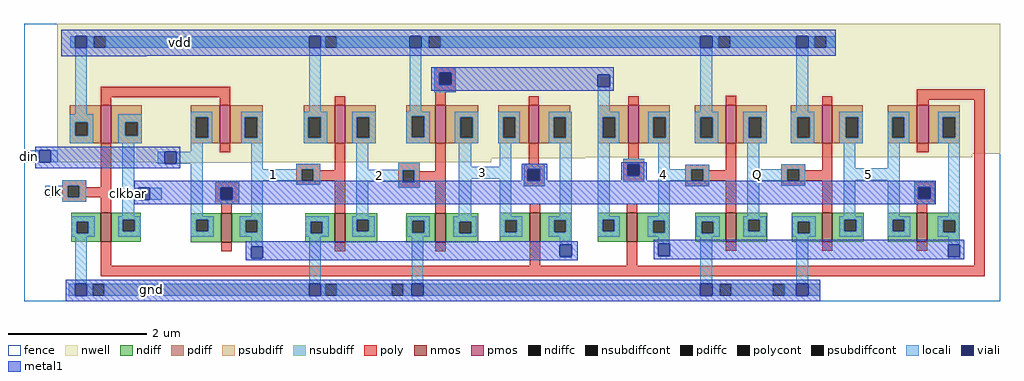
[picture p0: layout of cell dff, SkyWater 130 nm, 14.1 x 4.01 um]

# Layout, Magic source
magic
tech sky130A
<< fence >>
rect -809 -175 601 226
<< nwell >>
rect -761 38 601 226
rect -761 33 561 38
rect -761 32 2 33
rect -761 31 -133 32
rect -761 26 -134 31
rect -624 25 -481 26
<< nmos >>
rect -698 -89 -683 -47
rect -524 -90 -509 -48
rect -360 -90 -345 -48
rect -215 -90 -200 -48
rect -78 -89 -63 -47
rect 62 -89 77 -47
rect 205 -89 220 -47
rect 344 -89 359 -47
rect 481 -89 496 -47
<< pmos >>
rect -698 53 -683 108
rect -526 53 -511 108
rect -360 53 -345 108
rect -215 53 -200 108
rect -80 53 -65 108
rect 64 53 79 108
rect 205 53 220 108
rect 344 53 359 108
rect 481 53 498 108
<< ndiff >>
rect -741 -60 -698 -47
rect -741 -77 -733 -60
rect -716 -77 -698 -60
rect -741 -89 -698 -77
rect -683 -57 -640 -47
rect -683 -74 -666 -57
rect -649 -74 -640 -57
rect -683 -89 -640 -74
rect -568 -57 -524 -48
rect -568 -74 -560 -57
rect -543 -74 -524 -57
rect -568 -90 -524 -74
rect -509 -58 -464 -48
rect -509 -75 -489 -58
rect -472 -75 -464 -58
rect -509 -90 -464 -75
rect -403 -60 -360 -48
rect -403 -77 -395 -60
rect -378 -77 -360 -60
rect -403 -90 -360 -77
rect -345 -57 -299 -48
rect -345 -74 -328 -57
rect -311 -74 -299 -57
rect -345 -90 -299 -74
rect -257 -59 -215 -48
rect -257 -76 -248 -59
rect -231 -76 -215 -59
rect -257 -90 -215 -76
rect -200 -60 -153 -48
rect -200 -77 -180 -60
rect -163 -77 -153 -60
rect -200 -90 -153 -77
rect -122 -58 -78 -47
rect -122 -75 -114 -58
rect -97 -75 -78 -58
rect -122 -89 -78 -75
rect -63 -58 -18 -47
rect -63 -75 -43 -58
rect -26 -75 -18 -58
rect -63 -89 -18 -75
rect 20 -57 62 -47
rect 20 -74 27 -57
rect 44 -74 62 -57
rect 20 -89 62 -74
rect 77 -59 124 -47
rect 77 -76 100 -59
rect 117 -76 124 -59
rect 77 -89 124 -76
rect 161 -60 205 -47
rect 161 -77 170 -60
rect 187 -77 205 -60
rect 161 -89 205 -77
rect 220 -57 265 -47
rect 220 -74 237 -57
rect 254 -74 265 -57
rect 220 -89 265 -74
rect 300 -60 344 -47
rect 300 -77 309 -60
rect 326 -77 344 -60
rect 300 -89 344 -77
rect 359 -57 404 -47
rect 359 -74 376 -57
rect 393 -74 404 -57
rect 359 -89 404 -74
rect 439 -57 481 -47
rect 439 -74 446 -57
rect 463 -74 481 -57
rect 439 -89 481 -74
rect 496 -58 543 -47
rect 496 -75 519 -58
rect 536 -75 543 -58
rect 496 -89 543 -75
<< pdiff >>
rect -743 84 -698 108
rect -743 64 -735 84
rect -717 64 -698 84
rect -743 53 -698 64
rect -683 84 -639 108
rect -683 64 -663 84
rect -645 64 -639 84
rect -683 53 -639 64
rect -568 91 -526 108
rect -568 61 -561 91
rect -543 61 -526 91
rect -568 53 -526 61
rect -511 91 -464 108
rect -511 61 -490 91
rect -472 61 -464 91
rect -511 53 -464 61
rect -405 91 -360 108
rect -405 61 -398 91
rect -380 61 -360 91
rect -405 53 -360 61
rect -345 91 -301 108
rect -345 61 -328 91
rect -310 61 -301 91
rect -345 53 -301 61
rect -257 92 -215 108
rect -257 62 -249 92
rect -231 62 -215 92
rect -257 53 -215 62
rect -200 91 -153 108
rect -200 61 -179 91
rect -161 61 -153 91
rect -200 53 -153 61
rect -124 91 -80 108
rect -124 61 -117 91
rect -99 61 -80 91
rect -124 53 -80 61
rect -65 99 -20 108
rect -65 91 -18 99
rect -65 61 -44 91
rect -26 61 -18 91
rect -65 53 -18 61
rect 20 91 64 108
rect 20 61 27 91
rect 45 61 64 91
rect 20 53 64 61
rect 79 91 124 108
rect 79 61 100 91
rect 118 61 124 91
rect 79 53 124 61
rect 160 91 205 108
rect 160 61 168 91
rect 186 61 205 91
rect 160 53 205 61
rect 220 91 264 108
rect 220 61 238 91
rect 256 61 264 91
rect 220 53 264 61
rect 299 91 344 108
rect 299 61 308 91
rect 326 61 344 91
rect 299 53 344 61
rect 359 91 403 108
rect 359 61 378 91
rect 396 61 403 91
rect 359 53 403 61
rect 439 91 481 108
rect 439 61 445 91
rect 463 61 481 91
rect 439 53 481 61
rect 498 91 543 108
rect 498 61 518 91
rect 536 61 543 91
rect 498 53 543 61
<< ndiffc >>
rect -733 -77 -716 -60
rect -666 -74 -649 -57
rect -560 -74 -543 -57
rect -489 -75 -472 -58
rect -395 -77 -378 -60
rect -328 -74 -311 -57
rect -248 -76 -231 -59
rect -180 -77 -163 -60
rect -114 -75 -97 -58
rect -43 -75 -26 -58
rect 27 -74 44 -57
rect 100 -76 117 -59
rect 170 -77 187 -60
rect 237 -74 254 -57
rect 309 -77 326 -60
rect 376 -74 393 -57
rect 446 -74 463 -57
rect 519 -75 536 -58
<< pdiffc >>
rect -735 64 -717 84
rect -663 64 -645 84
rect -561 61 -543 91
rect -490 61 -472 91
rect -398 61 -380 91
rect -328 61 -310 91
rect -249 62 -231 92
rect -179 61 -161 91
rect -117 61 -99 91
rect -44 61 -26 91
rect 27 61 45 91
rect 100 61 118 91
rect 168 61 186 91
rect 238 61 256 91
rect 308 61 326 91
rect 378 61 396 91
rect 445 61 463 91
rect 518 61 536 91
<< psubdiff >>
rect -744 -167 -710 -150
rect -693 -167 -374 -150
rect -357 -167 -278 -150
rect -261 -167 196 -150
rect 213 -167 273 -150
rect 290 -167 341 -150
<< nsubdiff >>
rect -742 191 -708 208
rect -691 191 -374 208
rect -357 191 -224 208
rect -207 191 194 208
rect 211 191 333 208
rect 350 191 364 208
<< psubdiffcont >>
rect -710 -167 -693 -150
rect -374 -167 -357 -150
rect -278 -167 -261 -150
rect 196 -167 213 -150
rect 273 -167 290 -150
<< nsubdiffcont >>
rect -708 191 -691 208
rect -374 191 -357 208
rect -224 191 -207 208
rect 194 191 211 208
rect 333 191 350 208
<< poly >>
rect -216 155 -185 163
rect -216 138 -209 155
rect -192 138 -185 155
rect -698 120 -511 135
rect -216 127 -185 138
rect -698 108 -683 120
rect -526 108 -511 120
rect -360 108 -345 121
rect -215 108 -200 127
rect -80 108 -65 121
rect 64 108 79 121
rect 205 108 220 122
rect 344 108 359 121
rect 481 116 579 131
rect 481 108 498 116
rect -754 -8 -719 0
rect -754 -25 -746 -8
rect -729 -10 -719 -8
rect -698 -10 -683 53
rect -526 40 -511 53
rect -416 16 -381 24
rect -416 -1 -408 16
rect -391 14 -381 16
rect -360 14 -345 53
rect -391 -1 -345 14
rect -729 -25 -683 -10
rect -754 -31 -719 -25
rect -698 -47 -683 -25
rect -533 -11 -498 -2
rect -416 -7 -381 -1
rect -533 -28 -525 -11
rect -508 -28 -498 -11
rect -533 -35 -498 -28
rect -524 -48 -509 -35
rect -360 -48 -345 -1
rect -268 14 -237 25
rect -268 -3 -262 14
rect -245 13 -237 14
rect -215 13 -200 53
rect -80 24 -65 53
rect 64 31 79 53
rect -245 -2 -200 13
rect -245 -3 -237 -2
rect -268 -11 -237 -3
rect -215 -48 -200 -2
rect -87 16 -57 24
rect -87 -1 -81 16
rect -64 -1 -57 16
rect -87 -9 -57 -1
rect 57 23 87 31
rect 57 6 63 23
rect 80 6 87 23
rect 57 -2 87 6
rect 146 16 181 22
rect 146 -1 155 16
rect 172 14 181 16
rect 205 14 220 53
rect 172 -1 220 14
rect 146 -9 181 -1
rect -78 -47 -63 -34
rect 62 -47 77 -34
rect 205 -47 220 -1
rect 285 16 320 23
rect 285 -1 294 16
rect 311 14 320 16
rect 344 14 359 53
rect 481 40 498 53
rect 311 -1 359 14
rect 285 -8 320 -1
rect 344 -47 359 -1
rect 477 -10 507 -2
rect 477 -27 483 -10
rect 500 -27 507 -10
rect 477 -35 507 -27
rect 481 -47 496 -35
rect -698 -124 -683 -89
rect -524 -103 -509 -90
rect -360 -103 -345 -90
rect -215 -103 -200 -90
rect -78 -124 -63 -89
rect 62 -124 77 -89
rect 205 -102 220 -89
rect 344 -102 359 -89
rect 481 -102 496 -89
rect 564 -124 579 116
rect -698 -139 579 -124
<< polycont >>
rect -209 138 -192 155
rect -746 -25 -729 -8
rect -408 -1 -391 16
rect -525 -28 -508 -11
rect -262 -3 -245 14
rect -81 -1 -64 16
rect 63 6 80 23
rect 155 -1 172 16
rect 294 -1 311 16
rect 483 -27 500 -10
<< locali >>
rect -742 191 -735 208
rect -718 191 -708 208
rect -691 191 -397 208
rect -380 191 -374 208
rect -357 191 -252 208
rect -235 191 -224 208
rect -207 191 168 208
rect 185 191 194 208
rect 211 191 307 208
rect 324 191 333 208
rect 350 191 364 208
rect -735 95 -718 191
rect -397 99 -380 191
rect -252 99 -235 191
rect -216 155 -185 163
rect -216 138 -209 155
rect -192 138 -185 155
rect -216 127 -185 138
rect 20 99 37 135
rect 168 99 185 191
rect 307 99 324 191
rect -743 84 -709 95
rect -743 64 -735 84
rect -717 64 -709 84
rect -743 53 -709 64
rect -673 84 -639 95
rect -673 64 -663 84
rect -645 64 -639 84
rect -673 53 -639 64
rect -568 91 -537 99
rect -568 61 -561 91
rect -543 61 -537 91
rect -568 53 -537 61
rect -495 91 -464 99
rect -495 61 -490 91
rect -472 61 -464 91
rect -495 53 -464 61
rect -405 91 -371 99
rect -405 61 -398 91
rect -380 61 -371 91
rect -405 53 -371 61
rect -335 91 -301 99
rect -335 61 -328 91
rect -310 61 -301 91
rect -335 53 -301 61
rect -257 92 -223 99
rect -257 62 -249 92
rect -231 62 -223 92
rect -257 53 -223 62
rect -187 91 -153 99
rect -187 61 -179 91
rect -161 61 -153 91
rect -187 53 -153 61
rect -124 91 -93 99
rect -124 61 -117 91
rect -99 61 -93 91
rect -124 53 -93 61
rect -51 91 -18 99
rect -51 61 -44 91
rect -26 61 -18 91
rect -51 53 -18 61
rect -809 26 -787 43
rect -770 26 -760 43
rect -754 -8 -719 0
rect -778 -25 -746 -8
rect -729 -25 -719 -8
rect -754 -31 -719 -25
rect -667 -11 -650 53
rect -568 41 -551 53
rect -616 24 -606 41
rect -589 24 -551 41
rect -667 -28 -644 -11
rect -627 -28 -610 -11
rect -667 -52 -650 -28
rect -568 -52 -551 24
rect -481 16 -464 53
rect -416 16 -381 24
rect -481 -1 -408 16
rect -391 -1 -381 16
rect -533 -11 -498 -2
rect -533 -28 -525 -11
rect -508 -28 -498 -11
rect -533 -35 -498 -28
rect -481 -52 -464 -1
rect -416 -7 -381 -1
rect -329 15 -312 53
rect -268 15 -237 25
rect -329 14 -237 15
rect -329 -2 -262 14
rect -329 -52 -312 -2
rect -268 -3 -262 -2
rect -245 -3 -237 14
rect -268 -11 -237 -3
rect -181 19 -163 53
rect -122 19 -105 53
rect -181 2 -105 19
rect -181 -52 -163 2
rect -122 -52 -105 2
rect -87 16 -57 24
rect -87 -1 -81 16
rect -64 -1 -57 16
rect -87 -9 -57 -1
rect -35 -52 -18 53
rect -741 -60 -707 -52
rect -741 -77 -733 -60
rect -716 -77 -707 -60
rect -741 -82 -707 -77
rect -673 -57 -640 -52
rect -673 -74 -666 -57
rect -649 -74 -640 -57
rect -673 -82 -640 -74
rect -568 -57 -535 -52
rect -568 -74 -560 -57
rect -543 -74 -535 -57
rect -568 -82 -535 -74
rect -497 -58 -464 -52
rect -497 -75 -489 -58
rect -472 -75 -464 -58
rect -497 -82 -464 -75
rect -403 -60 -369 -52
rect -403 -77 -395 -60
rect -378 -77 -369 -60
rect -403 -82 -369 -77
rect -335 -57 -302 -52
rect -335 -74 -328 -57
rect -311 -74 -302 -57
rect -335 -82 -302 -74
rect -256 -59 -223 -52
rect -256 -76 -248 -59
rect -231 -76 -223 -59
rect -256 -82 -223 -76
rect -189 -60 -155 -52
rect -189 -77 -180 -60
rect -163 -77 -155 -60
rect -189 -82 -155 -77
rect -122 -58 -89 -52
rect -122 -75 -114 -58
rect -97 -75 -89 -58
rect -122 -82 -89 -75
rect -51 -58 -18 -52
rect -51 -75 -43 -58
rect -26 -75 -18 -58
rect -51 -82 -18 -75
rect 20 91 51 99
rect 20 61 27 91
rect 45 61 51 91
rect 20 53 51 61
rect 93 91 124 99
rect 93 61 100 91
rect 118 61 124 91
rect 93 53 124 61
rect 160 91 194 99
rect 160 61 168 91
rect 186 61 194 91
rect 160 53 194 61
rect 230 91 264 99
rect 230 61 238 91
rect 256 61 264 91
rect 230 53 264 61
rect 299 91 333 99
rect 299 61 308 91
rect 326 61 333 91
rect 299 53 333 61
rect 369 91 403 99
rect 369 61 378 91
rect 396 61 403 91
rect 369 53 403 61
rect 439 91 470 99
rect 439 61 445 91
rect 463 61 470 91
rect 439 53 470 61
rect 512 91 543 99
rect 512 61 518 91
rect 536 61 543 91
rect 512 53 543 61
rect 20 -52 37 53
rect 57 23 87 31
rect 57 6 63 23
rect 80 6 87 23
rect 57 -2 87 6
rect 107 16 124 53
rect 146 16 181 22
rect 107 -1 155 16
rect 172 -1 181 16
rect 107 -52 124 -1
rect 146 -9 181 -1
rect 236 16 253 53
rect 285 16 320 23
rect 236 -1 294 16
rect 311 -1 320 16
rect 236 -52 253 -1
rect 285 -8 320 -1
rect 375 17 392 53
rect 439 17 456 53
rect 375 0 456 17
rect 375 -52 392 0
rect 439 -52 456 0
rect 477 -10 507 -2
rect 477 -27 483 -10
rect 500 -27 507 -10
rect 477 -35 507 -27
rect 526 -52 543 53
rect 20 -57 52 -52
rect 20 -74 27 -57
rect 44 -74 52 -57
rect 20 -82 52 -74
rect 92 -59 124 -52
rect 92 -76 100 -59
rect 117 -76 124 -59
rect 92 -82 124 -76
rect 162 -60 196 -52
rect 162 -77 170 -60
rect 187 -77 196 -60
rect 162 -82 196 -77
rect 230 -57 263 -52
rect 230 -74 237 -57
rect 254 -74 263 -57
rect 230 -82 263 -74
rect 301 -60 335 -52
rect 301 -77 309 -60
rect 326 -77 335 -60
rect 301 -82 335 -77
rect 369 -57 402 -52
rect 369 -74 376 -57
rect 393 -74 402 -57
rect 369 -82 402 -74
rect 439 -57 471 -52
rect 439 -74 446 -57
rect 463 -74 471 -57
rect 439 -82 471 -74
rect 511 -58 543 -52
rect 511 -75 519 -58
rect 536 -75 543 -58
rect 511 -82 543 -75
rect -735 -150 -718 -82
rect -481 -96 -464 -82
rect -397 -150 -380 -82
rect -249 -150 -232 -82
rect -35 -93 -18 -82
rect -35 -112 -18 -110
rect 107 -92 124 -82
rect 107 -111 124 -109
rect 168 -150 185 -82
rect 307 -150 324 -82
rect 526 -93 543 -82
rect 526 -114 543 -111
rect -744 -167 -735 -150
rect -718 -167 -710 -150
rect -693 -167 -397 -150
rect -380 -167 -374 -150
rect -357 -167 -278 -150
rect -261 -167 -249 -150
rect -232 -167 168 -150
rect 185 -167 196 -150
rect 213 -167 273 -150
rect 290 -167 307 -150
rect 324 -167 341 -150
<< viali >>
rect -735 191 -718 208
rect -397 191 -380 208
rect -252 191 -235 208
rect 168 191 185 208
rect 307 191 324 208
rect -209 138 -192 155
rect 20 135 37 152
rect -787 26 -770 43
rect -606 24 -589 41
rect -644 -28 -627 -11
rect -525 -28 -508 -11
rect -81 -1 -64 16
rect 63 6 80 23
rect 483 -27 500 -10
rect -481 -113 -464 -96
rect -35 -110 -18 -93
rect 107 -109 124 -92
rect 526 -111 543 -93
rect -735 -167 -718 -150
rect -397 -167 -380 -150
rect -249 -167 -232 -150
rect 168 -167 185 -150
rect 307 -167 324 -150
<< metal1 >>
rect -755 208 364 217
rect -755 191 -735 208
rect -718 191 -397 208
rect -380 191 -252 208
rect -235 191 168 208
rect 185 191 307 208
rect 324 191 364 208
rect -755 180 364 191
rect -755 179 -632 180
rect -221 155 43 163
rect -221 138 -209 155
rect -192 152 43 155
rect -192 138 20 152
rect -221 135 20 138
rect 37 135 43 152
rect -221 129 43 135
rect -793 43 -583 48
rect -793 26 -787 43
rect -770 41 -583 43
rect -770 26 -606 41
rect -793 24 -606 26
rect -589 24 -583 41
rect -793 17 -583 24
rect -90 16 -53 24
rect -90 -1 -81 16
rect -64 -1 -53 16
rect 54 23 91 26
rect 54 6 63 23
rect 80 6 91 23
rect 54 -1 91 6
rect -650 -10 508 -1
rect -650 -11 483 -10
rect -650 -28 -644 -11
rect -627 -28 -525 -11
rect -508 -27 483 -11
rect 500 -27 508 -10
rect -508 -28 508 -27
rect -650 -35 508 -28
rect -489 -93 -9 -88
rect -489 -96 -35 -93
rect -489 -113 -481 -96
rect -464 -110 -35 -96
rect -18 -110 -9 -93
rect -464 -113 -9 -110
rect -489 -116 -9 -113
rect 101 -92 549 -86
rect 101 -109 107 -92
rect 124 -93 549 -92
rect 124 -109 526 -93
rect 101 -111 526 -109
rect 543 -111 549 -93
rect 101 -114 549 -111
rect -749 -150 341 -144
rect -749 -167 -735 -150
rect -718 -167 -397 -150
rect -380 -167 -249 -150
rect -232 -167 168 -150
rect 185 -167 307 -150
rect 324 -167 341 -150
rect -749 -175 341 -167
<< labels >>
flabel locali -667 -28 -649 -11 0 FreeSans 72 0 0 0 clkbar
flabel locali -304 -2 -286 15 0 FreeSans 80 0 0 0 2
flabel locali -155 2 -138 19 0 FreeSans 80 0 0 0 3
flabel locali 107 -1 124 16 0 FreeSans 80 0 0 0 4
flabel locali 401 0 420 17 0 FreeSans 80 0 0 0 5
flabel metal1 -611 192 -554 207 0 FreeSans 152 0 0 0 vdd
flabel metal1 -661 -166 -589 -150 0 FreeSans 152 0 0 0 gnd
flabel locali -808 27 -794 42 0 FreeSans 120 0 0 0 din
flabel locali 236 -1 266 16 0 FreeSans 120 0 0 0 Q
flabel locali -777 -24 -755 -9 0 FreeSans 120 0 0 0 clk
flabel locali -464 -1 -434 16 0 FreeSans 120 0 0 0 1
<< end >>
